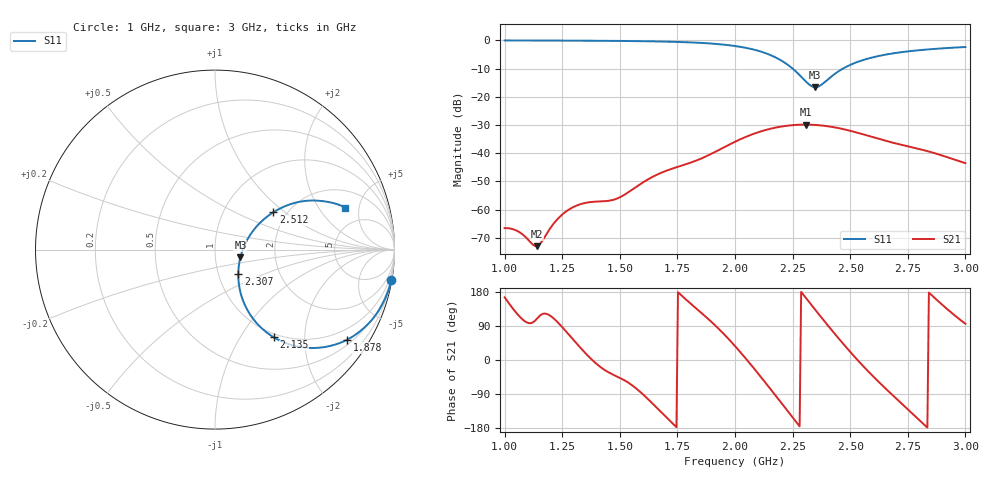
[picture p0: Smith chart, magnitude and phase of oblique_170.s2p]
! TOUCHSTONE file generated by CST MICROWAVE STUDIO
! Date and time: Tue Mar 18 00:02:34 2025
! Project name: oblique.cst
! Parameters = {Tilt=40; Fracture=1; B=12.5; D=160; F=5; Feed=2.85625; L=100; M=50; R=0.384908; S=1; Theta=180; length=57.125; wave=114.25}
! Header version: 2024
! Port assignment regex: !\s*Touchstone port\s*([0-9]+)\s*=\s*(CST MWS port|CST DES external port|CST DES block port)\s*(.+)\s* \(\"(.*)\"\)(\s*mode\s*([0-9]+))?.*
! Touchstone port assignment:
! Touchstone port 1 = CST MWS port 1 ("")
! Touchstone port 2 = CST MWS port 2 ("")
# GHz S DB R 50
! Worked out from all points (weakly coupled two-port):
!   304 points, 1 GHz to 3 GHz, reference 50 ohm
!   highest |S21| = -29.87 dB at 2.307 GHz (marker M1); lowest = -73.0 dB at 1.139 GHz (marker M2)
!   lowest |S11| = -16.6 dB at 2.347 GHz (marker M3), VSWR 1.35, Z = 66.2 - j5.7 ohm
!   |S11| at or under -10 dB: 2.25 GHz to 2.469 GHz (218.8 MHz wide, 9.27 % of centre)
!   S12 and S22 are empty: the file has one direction only
!   S11 on the Smith chart (normalised r, x): 1 GHz: 0, -12; 1.878 GHz: 0.64, -3.11; 2.135 GHz: 0.95, -1.41; 2.307 GHz: 1.24, -0.35; 2.512 GHz: 1.70, +0.83; 3 GHz: 3.22, +3.61
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1  -0.02 -9.8  -66.59 165.5  -200.00 0.0  -200.00 0.0
1.05941  -0.03 -10.6  -67.78 118.4  -200.00 0.0  -200.00 0.0
1.13861  -0.04 -11.8  -72.99 107.8  -200.00 0.0  -200.00 0.0
1.15842  -0.05 -12.1  -71.71 119.6  -200.00 0.0  -200.00 0.0
1.20462  -0.06 -12.8  -65.87 113.9  -200.00 0.0  -200.00 0.0
1.24422  -0.07 -13.5  -62.20 90.7  -200.00 0.0  -200.00 0.0
1.29043  -0.08 -14.3  -59.47 58.9  -200.00 0.0  -200.00 0.0
1.33663  -0.10 -15.2  -57.93 27.2  -200.00 0.0  -200.00 0.0
1.48845  -0.18 -18.6  -56.09 -43.8  -200.00 0.0  -200.00 0.0
1.66667  -0.37 -24.1  -47.44 -129.8  -200.00 0.0  -200.00 0.0
1.87789  -1.01 -34.4  -41.00 111.5  -200.00 0.0  -200.00 0.0
2.0033  -2.03 -43.8  -35.83 34.6  -200.00 0.0  -200.00 0.0
2.13531  -4.61 -56.2  -31.73 -62.3  -200.00 0.0  -200.00 0.0
2.22772  -8.58 -61.8  -30.25 -134.0  -200.00 0.0  -200.00 0.0
2.30693  -14.52 -46.4  -29.87 164.4  -200.00 0.0  -200.00 0.0
2.33993  -16.50 -22.5  -29.95 138.9  -200.00 0.0  -200.00 0.0
2.34653  -16.61 -16.5  -29.98 133.9  -200.00 0.0  -200.00 0.0
2.37294  -15.86 5.3  -30.16 113.8  -200.00 0.0  -200.00 0.0
2.42574  -12.34 26.9  -30.75 74.4  -200.00 0.0  -200.00 0.0
2.51155  -8.29 32.6  -32.31 13.6  -200.00 0.0  -200.00 0.0
2.66997  -4.81 28.2  -35.97 -84.7  -200.00 0.0  -200.00 0.0
3  -2.35 17.9  -43.56 95.6  -200.00 0.0  -200.00 0.0
